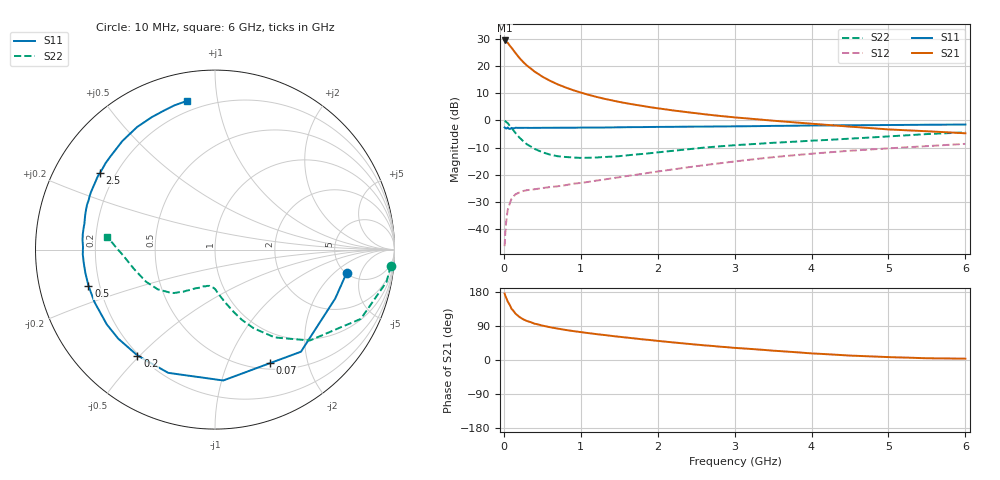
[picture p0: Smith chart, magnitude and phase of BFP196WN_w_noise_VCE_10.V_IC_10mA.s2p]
! (c) 2017  Infineon Technologies AG, Munich
! Infineon Technologies  Discrete & RF Semiconductors
! BFP196WN
! VCE =  10. V,  IC =  10 mA
! Common Emitter S-Parameters:  Jan 2017
# GHz  S  MA  R  50
!  f  S11  S21  S12  S22
! GHz  MAG  ANG  MAG  ANG  MAG  ANG  MAG  ANG
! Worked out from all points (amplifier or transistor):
!   77 points, 10 MHz to 6 GHz, reference 50 ohm
!   highest |S21| = 29.5 dB at 10 MHz (marker M1)
!   |S21| within 3 dB of that: start of sweep to 108.5 MHz
!   unconditionally stable (mu >= 1): 1.152 GHz to 2.659 GHz
!   at 130 MHz: K = 0.19, MSG = 26.8 dB, |S12| = -27.9 dB
!   at 2.2 GHz: K = 1.05, MAG = 9.5 dB, |S12| = -18.0 dB
!   at 6 GHz: K = 0.85, MSG = 2.0 dB, |S12| = -8.6 dB
!   lowest NFmin = 0.92 dB at 450 MHz
!   S11 on the Smith chart (normalised r, x): 10 MHz: 5.11, -2.94; 70 MHz: 0.57, -1.43; 200 MHz: 0.19, -0.49; 500 MHz: 0.16, -0.14; 2.5 GHz: 0.14, +0.30; 6 GHz: 0.14, +0.82
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0.01  0.7453 -9.9  29.97 175.5  0.0048 82.0  0.9835 -5.2
0.02  0.7232 -22.1  28.8 169.2  0.0088 80.9  0.9723 -10.7
0.05  0.7436 -49.9  27.23 154.3  0.0222 65.6  0.8994 -25.4
0.07  0.7029 -64.2  24.83 147.6  0.0274 58.5  0.8226 -31.8
0.1  0.7306 -86.4  22.02 135.2  0.0358 51.9  0.7319 -43.8
0.15  0.7345 -110.8  17.69 122.6  0.0433 42.4  0.5914 -55.8
0.2  0.7312 -126.2  14.39 113.9  0.0469 38.0  0.4887 -63.8
0.25  0.7327 -137.4  12.05 107.6  0.05 34.8  0.4186 -69.1
0.3  0.733 -145.4  10.31 102.9  0.0518 33.4  0.3643 -73.2
0.4  0.7324 -156.5  7.966 95.8  0.0539 33.4  0.2992 -79.2
0.5  0.7332 -164.0  6.446 90.8  0.0566 34.0  0.2597 -83.8
0.6  0.7339 -169.7  5.413 86.5  0.0591 35.6  0.2345 -87.4
0.7  0.7349 -174.1  4.647 82.9  0.0611 37.9  0.2191 -90.0
0.9  0.7357 178.7  3.629 76.4  0.0682 42.1  0.2077 -95.5
1.1  0.7417 173.4  2.98 71.0  0.0737 46.7  0.2055 -100.3
1.5  0.7491 164.6  2.202 61.3  0.0897 52.8  0.2197 -109.8
2.1  0.7626 153.3  1.607 48.5  0.1198 58.5  0.267 -122.3
2.5  0.7703 146.4  1.361 40.7  0.1434 59.9  0.3052 -129.2
3.1  0.782 136.8  1.111 30.7  0.1822 59.0  0.3569 -138.9
4.1  0.8101 121.0  0.851 16.4  0.2502 53.5  0.4305 -157.5
5.1  0.8268 109.2  0.674 7.0  0.312 45.8  0.5187 -177.2
6  0.843 100.7  0.581 3.5  0.3703 39.0  0.6034 173.2
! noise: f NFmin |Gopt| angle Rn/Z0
0.45  0.92  0.37  146  0.05
0.9  1.09  0.52  167  0.05
1.9  2.29  0.71  206  0.13
2.4  3.04  0.72  213  0.24
